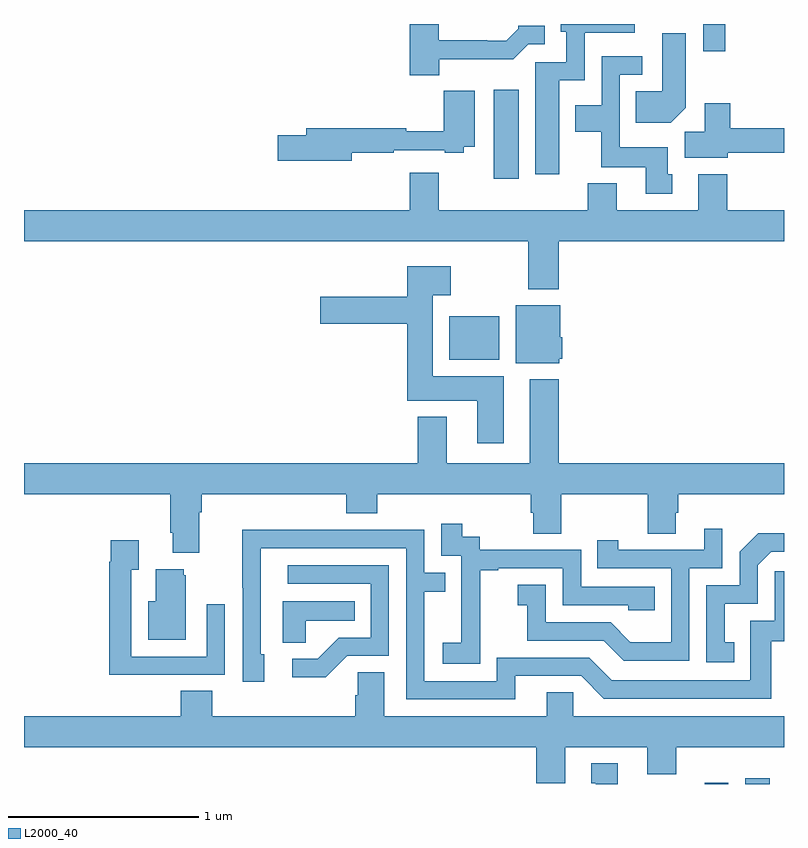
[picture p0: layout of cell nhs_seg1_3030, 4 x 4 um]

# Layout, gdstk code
import gdstk
lib = gdstk.Library(unit=1e-6, precision=1e-09)
def R(c, l, rs):  # rectangles x0, y0, x1, y1
    for r in rs: c.add(gdstk.rectangle(r[:2], r[2:], *l))
def P(c, l, *ps):  # polygons
    for p in ps: c.add(gdstk.Polygon(p, *l))
L2000_40 = (2000, 40)

nhs_seg1_3030 = lib.new_cell('nhs_seg1_3030')
R(nhs_seg1_3030, L2000_40, [(278.582,558.199,278.707,558.205), (278.795,558.199,278.926,558.229), (277.238,560.432,277.501,560.662), (277.472,561.384,277.603,561.853), (278.574,562.056,278.69,562.199), (277.319,562.198,277.459,562.199)])
P(nhs_seg1_3030, L2000_40, [(277.186,562.014),(277.575,562.014),(277.653,562.092),(277.741,562.092),(277.741,562.189),(277.602,562.189),(277.602,562.174),(277.538,562.11),(277.439,562.11),(277.439,562.113),(277.183,562.113),(277.183,562.199),(277.031,562.199),(277.031,561.929),(277.186,561.929)],
  [(277.816,561.902),(277.95,561.902),(277.95,562.154),(278.215,562.154),(278.215,562.199),(277.826,562.199),(277.826,562.158),(277.854,562.158),(277.854,561.999),(277.691,561.999),(277.691,561.408),(277.816,561.408)],
  [(278.482,561.758),(278.482,562.15),(278.36,562.15),(278.36,561.844),(278.221,561.844),(278.221,561.68),(278.404,561.68)],
  [(278.413,561.408),(278.389,561.408),(278.389,561.55),(278.136,561.55),(278.136,561.933),(278.254,561.933),(278.254,562.029),(278.04,562.029),(278.04,561.772),(277.901,561.772),(277.901,561.632),(278.038,561.632),(278.038,561.446),(278.273,561.446),(278.273,561.306),(278.413,561.306)],
  [(276.724,561.522),(276.947,561.522),(276.947,561.534),(277.214,561.534),(277.214,561.522),(277.314,561.522),(277.314,561.554),(277.372,561.554),(277.372,561.847),(277.21,561.847),(277.21,561.635),(277.012,561.635),(277.012,561.65),(276.485,561.65),(276.485,561.614),(276.336,561.614),(276.336,561.479),(276.724,561.479)],
  [(278.704,561.522),(279,561.522),(279,561.65),(278.717,561.65),(278.717,561.781),(278.582,561.781),(278.582,561.632),(278.477,561.632),(278.477,561.494),(278.704,561.494)],
  [(277.814,561.056),(279,561.056),(279,561.22),(278.702,561.22),(278.702,561.409),(278.549,561.409),(278.549,561.22),(278.119,561.22),(278.119,561.361),(277.967,561.361),(277.967,561.22),(277.183,561.22),(277.183,561.415),(277.031,561.415),(277.031,561.22),(275,561.22),(275,561.056),(277.654,561.056),(277.654,560.804),(277.814,560.804)],
  [(277.525,560.344),(277.15,560.344),(277.15,560.771),(277.246,560.771),(277.246,560.923),(277.016,560.923),(277.016,560.763),(276.558,560.763),(276.558,560.621),(277.016,560.621),(277.016,560.216),(277.385,560.216),(277.385,559.992),(277.525,559.992)],
  [(277.818,560.436),(277.834,560.436),(277.834,560.55),(277.822,560.55),(277.822,560.719),(277.589,560.719),(277.589,560.414),(277.818,560.414)],
  [(275.923,559.628),(275.936,559.628),(275.936,559.724),(276.695,559.724),(276.695,559.625),(276.86,559.625),(276.86,559.724),(277.667,559.724),(277.667,559.626),(277.679,559.626),(277.679,559.516),(277.827,559.516),(277.827,559.724),(278.284,559.724),(278.284,559.516),(278.431,559.516),(278.431,559.626),(278.444,559.626),(278.444,559.724),(279,559.724),(279,559.888),(277.814,559.888),(277.814,560.329),(277.661,560.329),(277.661,559.888),(277.225,559.888),(277.225,560.131),(277.073,560.131),(277.073,559.888),(275,559.888),(275,559.724),(275.771,559.724),(275.771,559.522),(275.783,559.522),(275.783,559.415),(275.923,559.415)],
  [(277.401,559.039),(277.4,559.039),(277.4,559.323),(277.495,559.323),(277.495,559.335),(277.836,559.335),(277.836,559.14),(278.181,559.14),(278.181,559.113),(278.321,559.113),(278.321,559.236),(277.932,559.236),(277.932,559.431),(277.398,559.431),(277.398,559.5),(277.306,559.5),(277.306,559.57),(277.197,559.57),(277.197,559.401),(277.302,559.401),(277.302,559.172),(277.301,559.172),(277.301,558.943),(277.203,558.943),(277.203,558.833),(277.401,558.833)],
  [(278.502,559.335),(278.676,559.335),(278.676,559.543),(278.579,559.543),(278.579,559.431),(278.128,559.431),(278.128,559.483),(278.017,559.483),(278.017,559.335),(278.406,559.335),(278.406,558.946),(278.192,558.946),(278.088,559.05),(277.746,559.05),(277.746,559.249),(277.599,559.249),(277.599,559.139),(277.648,559.139),(277.648,558.954),(278.051,558.954),(278.156,558.849),(278.502,558.849)],
  [(277.585,558.768),(277.932,558.768),(278.052,558.648),(278.932,558.648),(278.932,558.951),(279,558.951),(279,559.318),(278.952,559.318),(278.952,559.059),(278.823,559.059),(278.823,558.744),(278.094,558.744),(277.974,558.864),(277.488,558.864),(277.488,558.741),(277.107,558.741),(277.107,559.21),(277.217,559.21),(277.217,559.311),(277.107,559.311),(277.107,559.536),(276.611,559.536),(276.611,559.538),(276.148,559.538),(276.148,559.231),(276.15,559.231),(276.15,558.738),(276.265,558.738),(276.265,558.882),(276.246,558.882),(276.246,559.44),(277.011,559.44),(277.011,558.645),(277.585,558.645)],
  [(278.738,558.945),(278.689,558.945),(278.689,559.149),(278.862,559.149),(278.862,559.35),(278.934,559.422),(279,559.422),(279,559.52),(278.864,559.52),(278.766,559.422),(278.766,559.245),(278.592,559.245),(278.592,558.84),(278.738,558.84)],
  [(275.741,558.774),(276.057,558.774),(276.057,559.144),(275.961,559.144),(275.961,558.87),(275.565,558.87),(275.565,559.327),(275.605,559.327),(275.605,559.483),(275.457,559.483),(275.457,559.37),(275.449,559.37),(275.449,558.773),(275.741,558.773)],
  [(276.702,558.873),(276.921,558.873),(276.921,559.35),(276.387,559.35),(276.387,559.254),(276.825,559.254),(276.825,558.969),(276.656,558.969),(276.545,558.858),(276.411,558.858),(276.411,558.761),(276.589,558.761)],
  [(275.851,559.299),(275.84,559.299),(275.84,559.33),(275.693,559.33),(275.693,559.162),(275.654,559.162),(275.654,558.959),(275.851,558.959)],
  [(276.483,559.058),(276.74,559.058),(276.74,559.162),(276.362,559.162),(276.362,558.943),(276.483,558.943)],
  [(277.849,558.392),(278.279,558.392),(278.279,558.251),(278.432,558.251),(278.432,558.392),(279,558.392),(279,558.556),(277.89,558.556),(277.89,558.683),(277.751,558.683),(277.751,558.556),(276.895,558.556),(276.895,558.788),(276.756,558.788),(276.756,558.665),(276.743,558.665),(276.743,558.556),(275.99,558.556),(275.99,558.689),(275.825,558.689),(275.825,558.556),(275,558.556),(275,558.392),(277.697,558.392),(277.697,558.203),(277.849,558.203)],
  [(278.125,558.307),(277.985,558.307),(277.985,558.204),(278.009,558.204),(278.009,558.199),(278.125,558.199)])

lib.write_gds('nhs_seg1_3030.gds')
